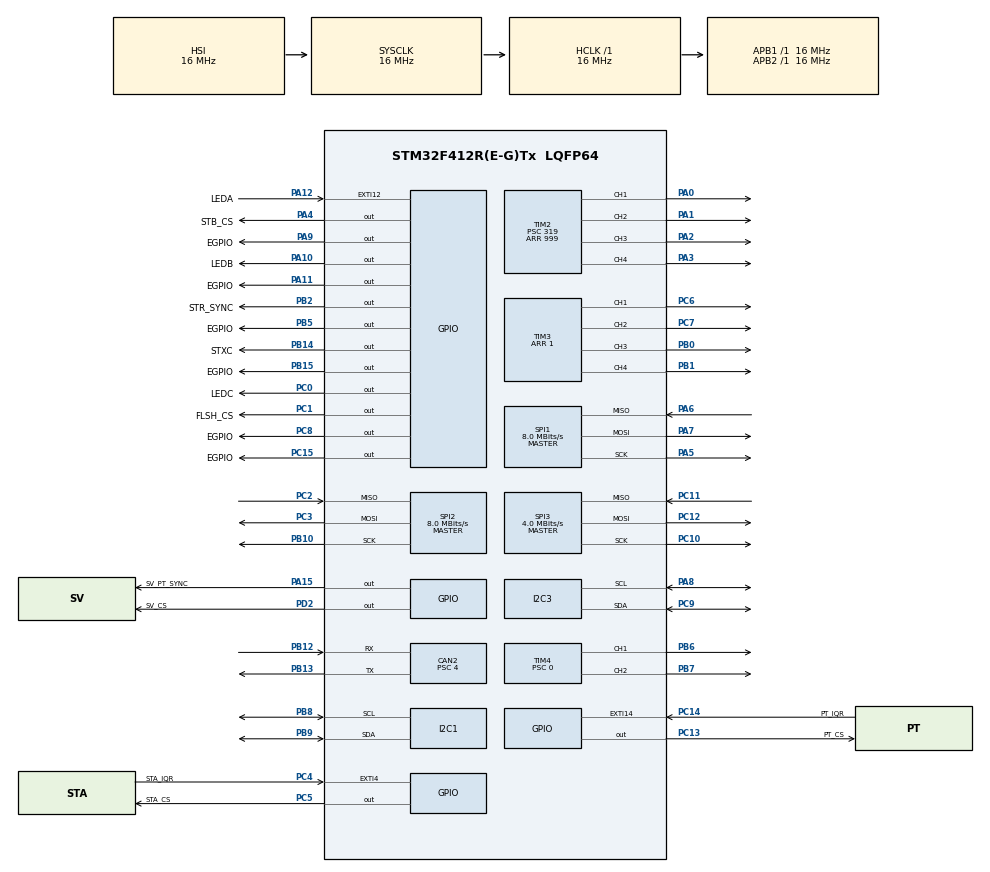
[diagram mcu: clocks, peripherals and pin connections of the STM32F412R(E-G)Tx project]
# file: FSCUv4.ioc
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CAN2.BS1=CAN_BS1_13TQ
CAN2.BS2=CAN_BS2_2TQ
CAN2.CalculateBaudRate=250000
CAN2.CalculateTimeBit=4000
CAN2.CalculateTimeQuantum=250.0
CAN2.NART=ENABLE
CAN2.Prescaler=4
CAN2.RFLM=ENABLE
CAN2.SJW=CAN_SJW_2TQ
Dma.I2C1_RX.7.Direction=DMA_PERIPH_TO_MEMORY
Dma.I2C1_RX.7.FIFOMode=DMA_FIFOMODE_DISABLE
Dma.I2C1_RX.7.Instance=DMA1_Stream0
Dma.I2C1_RX.7.MemDataAlignment=DMA_MDATAALIGN_BYTE
Dma.I2C1_RX.7.MemInc=DMA_MINC_ENABLE
Dma.I2C1_RX.7.Mode=DMA_NORMAL
Dma.I2C1_RX.7.PeriphDataAlignment=DMA_PDATAALIGN_BYTE
Dma.I2C1_RX.7.PeriphInc=DMA_PINC_DISABLE
Dma.I2C1_RX.7.Priority=DMA_PRIORITY_LOW
Dma.I2C1_TX.6.Direction=DMA_MEMORY_TO_PERIPH
Dma.I2C1_TX.6.FIFOMode=DMA_FIFOMODE_DISABLE
Dma.I2C1_TX.6.Instance=DMA1_Stream6
Dma.I2C1_TX.6.MemDataAlignment=DMA_MDATAALIGN_BYTE
Dma.I2C1_TX.6.MemInc=DMA_MINC_ENABLE
Dma.I2C1_TX.6.Mode=DMA_NORMAL
Dma.I2C1_TX.6.PeriphDataAlignment=DMA_PDATAALIGN_BYTE
Dma.I2C1_TX.6.PeriphInc=DMA_PINC_DISABLE
Dma.I2C1_TX.6.Priority=DMA_PRIORITY_LOW
Dma.I2C3_RX.8.Direction=DMA_PERIPH_TO_MEMORY
Dma.I2C3_RX.8.FIFOMode=DMA_FIFOMODE_DISABLE
Dma.I2C3_RX.8.Instance=DMA1_Stream1
Dma.I2C3_RX.8.MemDataAlignment=DMA_MDATAALIGN_BYTE
Dma.I2C3_RX.8.MemInc=DMA_MINC_ENABLE
Dma.I2C3_RX.8.Mode=DMA_NORMAL
Dma.I2C3_RX.8.PeriphDataAlignment=DMA_PDATAALIGN_BYTE
Dma.I2C3_RX.8.PeriphInc=DMA_PINC_DISABLE
Dma.I2C3_RX.8.Priority=DMA_PRIORITY_LOW
Dma.I2C3_TX.9.Direction=DMA_MEMORY_TO_PERIPH
Dma.I2C3_TX.9.FIFOMode=DMA_FIFOMODE_DISABLE
Dma.I2C3_TX.9.Instance=DMA1_Stream5
Dma.I2C3_TX.9.MemDataAlignment=DMA_MDATAALIGN_BYTE
Dma.I2C3_TX.9.MemInc=DMA_MINC_ENABLE
Dma.I2C3_TX.9.Mode=DMA_NORMAL
Dma.I2C3_TX.9.PeriphDataAlignment=DMA_PDATAALIGN_BYTE
Dma.I2C3_TX.9.PeriphInc=DMA_PINC_DISABLE
Dma.I2C3_TX.9.Priority=DMA_PRIORITY_LOW
Dma.Request0=SPI1_RX
Dma.Request1=SPI1_TX
Dma.Request2=SPI2_RX
Dma.Request3=SPI2_TX
Dma.Request4=SPI3_RX
Dma.Request5=SPI3_TX
Dma.Request6=I2C1_TX
Dma.Request7=I2C1_RX
Dma.Request8=I2C3_RX
Dma.Request9=I2C3_TX
Dma.SPI1_RX.0.Direction=DMA_PERIPH_TO_MEMORY
Dma.SPI1_RX.0.FIFOMode=DMA_FIFOMODE_DISABLE
Dma.SPI1_RX.0.Instance=DMA2_Stream0
Dma.SPI1_RX.0.MemDataAlignment=DMA_MDATAALIGN_BYTE
Dma.SPI1_RX.0.MemInc=DMA_MINC_ENABLE
Dma.SPI1_RX.0.Mode=DMA_NORMAL
Dma.SPI1_RX.0.PeriphDataAlignment=DMA_PDATAALIGN_BYTE
Dma.SPI1_RX.0.PeriphInc=DMA_PINC_DISABLE
Dma.SPI1_RX.0.Priority=DMA_PRIORITY_LOW
Dma.SPI1_TX.1.Direction=DMA_MEMORY_TO_PERIPH
Dma.SPI1_TX.1.FIFOMode=DMA_FIFOMODE_DISABLE
Dma.SPI1_TX.1.Instance=DMA2_Stream2
Dma.SPI1_TX.1.MemDataAlignment=DMA_MDATAALIGN_BYTE
Dma.SPI1_TX.1.MemInc=DMA_MINC_ENABLE
Dma.SPI1_TX.1.Mode=DMA_NORMAL
Dma.SPI1_TX.1.PeriphDataAlignment=DMA_PDATAALIGN_BYTE
Dma.SPI1_TX.1.PeriphInc=DMA_PINC_DISABLE
Dma.SPI1_TX.1.Priority=DMA_PRIORITY_LOW
Dma.SPI2_RX.2.Direction=DMA_PERIPH_TO_MEMORY
Dma.SPI2_RX.2.FIFOMode=DMA_FIFOMODE_DISABLE
Dma.SPI2_RX.2.Instance=DMA1_Stream3
Dma.SPI2_RX.2.MemDataAlignment=DMA_MDATAALIGN_BYTE
Dma.SPI2_RX.2.MemInc=DMA_MINC_ENABLE
Dma.SPI2_RX.2.Mode=DMA_NORMAL
Dma.SPI2_RX.2.PeriphDataAlignment=DMA_PDATAALIGN_BYTE
Dma.SPI2_RX.2.PeriphInc=DMA_PINC_DISABLE
Dma.SPI2_RX.2.Priority=DMA_PRIORITY_LOW
Dma.SPI2_TX.3.Direction=DMA_MEMORY_TO_PERIPH
Dma.SPI2_TX.3.FIFOMode=DMA_FIFOMODE_DISABLE
Dma.SPI2_TX.3.Instance=DMA1_Stream4
Dma.SPI2_TX.3.MemDataAlignment=DMA_MDATAALIGN_BYTE
Dma.SPI2_TX.3.MemInc=DMA_MINC_ENABLE
Dma.SPI2_TX.3.Mode=DMA_NORMAL
Dma.SPI2_TX.3.PeriphDataAlignment=DMA_PDATAALIGN_BYTE
Dma.SPI2_TX.3.PeriphInc=DMA_PINC_DISABLE
Dma.SPI2_TX.3.Priority=DMA_PRIORITY_LOW
Dma.SPI3_RX.4.Direction=DMA_PERIPH_TO_MEMORY
Dma.SPI3_RX.4.FIFOMode=DMA_FIFOMODE_DISABLE
Dma.SPI3_RX.4.Instance=DMA1_Stream2
Dma.SPI3_RX.4.MemDataAlignment=DMA_MDATAALIGN_BYTE
Dma.SPI3_RX.4.MemInc=DMA_MINC_ENABLE
Dma.SPI3_RX.4.Mode=DMA_NORMAL
Dma.SPI3_RX.4.PeriphDataAlignment=DMA_PDATAALIGN_BYTE
Dma.SPI3_RX.4.PeriphInc=DMA_PINC_DISABLE
Dma.SPI3_RX.4.Priority=DMA_PRIORITY_LOW
Dma.SPI3_TX.5.Direction=DMA_MEMORY_TO_PERIPH
Dma.SPI3_TX.5.FIFOMode=DMA_FIFOMODE_DISABLE
Dma.SPI3_TX.5.Instance=DMA1_Stream7
Dma.SPI3_TX.5.MemDataAlignment=DMA_MDATAALIGN_BYTE
Dma.SPI3_TX.5.MemInc=DMA_MINC_ENABLE
Dma.SPI3_TX.5.Mode=DMA_NORMAL
Dma.SPI3_TX.5.PeriphDataAlignment=DMA_PDATAALIGN_BYTE
Dma.SPI3_TX.5.PeriphInc=DMA_PINC_DISABLE
Dma.SPI3_TX.5.Priority=DMA_PRIORITY_LOW
Mcu.Family=STM32F4
Mcu.Name=STM32F412R(E-G)Tx
Mcu.Package=LQFP64
NVIC.CAN2_RX0_IRQn=true\:0\:0\:false\:false\:true\:true\:true\:true
NVIC.DMA1_Stream0_IRQn=true\:0\:0\:false\:false\:true\:false\:true\:true
NVIC.DMA1_Stream1_IRQn=true\:0\:0\:false\:false\:true\:false\:true\:true
NVIC.DMA1_Stream2_IRQn=true\:0\:0\:false\:false\:true\:false\:true\:true
NVIC.DMA1_Stream3_IRQn=true\:0\:0\:false\:false\:true\:false\:true\:true
NVIC.DMA1_Stream4_IRQn=true\:0\:0\:false\:false\:true\:false\:true\:true
NVIC.DMA1_Stream5_IRQn=true\:0\:0\:false\:false\:true\:false\:true\:true
NVIC.DMA1_Stream6_IRQn=true\:0\:0\:false\:false\:true\:false\:true\:true
NVIC.DMA1_Stream7_IRQn=true\:0\:0\:false\:false\:true\:false\:true\:true
NVIC.DMA2_Stream0_IRQn=true\:0\:0\:false\:false\:true\:false\:true\:true
NVIC.DMA2_Stream2_IRQn=true\:0\:0\:false\:false\:true\:false\:true\:true
NVIC.PriorityGroup=NVIC_PRIORITYGROUP_4
NVIC.TIM5_IRQn=true\:15\:0\:false\:false\:true\:false\:true\:true
NVIC.TimeBase=TIM5_IRQn
NVIC.TimeBaseIP=TIM5
PA0.Signal=S_TIM2_CH1_ETR
PA1.Signal=S_TIM2_CH2
PA10.GPIO_Label=LEDB
PA10.Signal=GPIO_Output
PA11.GPIO_Label=EGPIO
PA11.Signal=GPIO_Output
PA12.GPIO_Label=LEDA
PA12.Signal=GPXTI12
PA13.Mode=Trace_Asynchronous_SW
PA13.Signal=SYS_JTMS-SWDIO
PA14.Mode=Trace_Asynchronous_SW
PA14.Signal=SYS_JTCK-SWCLK
PA15.GPIO_Label=SV_PT_SYNC
PA15.Signal=GPIO_Output
PA2.Signal=S_TIM2_CH3
PA3.Signal=S_TIM2_CH4
PA4.GPIO_Label=STB_CS
PA4.Signal=GPIO_Output
PA5.Mode=Full_Duplex_Master
PA5.Signal=SPI1_SCK
PA6.Mode=Full_Duplex_Master
PA6.Signal=SPI1_MISO
PA7.Mode=Full_Duplex_Master
PA7.Signal=SPI1_MOSI
PA8.Mode=I2C
PA8.Signal=I2C3_SCL
PA9.GPIO_Label=EGPIO
PA9.Signal=GPIO_Output
PB0.Signal=S_TIM3_CH3
PB1.Signal=S_TIM3_CH4
PB10.Mode=Full_Duplex_Master
PB10.Signal=SPI2_SCK
PB12.Mode=CAN_Activate
PB12.Signal=CAN2_RX
PB13.Mode=CAN_Activate
PB13.Signal=CAN2_TX
PB14.GPIO_Label=STXC
PB14.Signal=GPIO_Output
PB15.GPIO_Label=EGPIO
PB15.Signal=GPIO_Output
PB2.GPIO_Label=STR_SYNC
PB2.Signal=GPIO_Output
PB3.Mode=Trace_Asynchronous_SW
PB3.Signal=SYS_JTDO-SWO
PB5.GPIO_Label=EGPIO
PB5.Signal=GPIO_Output
PB6.Signal=S_TIM4_CH1
PB7.Signal=S_TIM4_CH2
PB8.Mode=I2C
PB8.Signal=I2C1_SCL
PB9.Mode=I2C
PB9.Signal=I2C1_SDA
PC0.GPIO_Label=LEDC
PC0.Signal=GPIO_Output
PC1.GPIO_Label=FLSH_CS
PC1.Signal=GPIO_Output
PC10.Mode=Full_Duplex_Master
PC10.Signal=SPI3_SCK
PC11.Mode=Full_Duplex_Master
PC11.Signal=SPI3_MISO
PC12.Mode=Full_Duplex_Master
PC12.Signal=SPI3_MOSI
PC13.GPIO_Label=PT_CS
PC13.Signal=GPIO_Output
PC14-OSC32_IN.GPIO_Label=PT_IQR
PC14-OSC32_IN.Signal=GPXTI14
PC15-OSC32_OUT.GPIO_Label=EGPIO
PC15-OSC32_OUT.Signal=GPIO_Output
PC2.Mode=Full_Duplex_Master
PC2.Signal=SPI2_MISO
PC3.Mode=Full_Duplex_Master
PC3.Signal=SPI2_MOSI
PC4.GPIO_Label=STA_IQR
PC4.Signal=GPXTI4
PC5.GPIO_Label=STA_CS
PC5.Signal=GPIO_Output
PC6.Signal=S_TIM3_CH1
PC7.Signal=S_TIM3_CH2
PC8.GPIO_Label=EGPIO
PC8.Signal=GPIO_Output
PC9.Mode=I2C
PC9.Signal=I2C3_SDA
PD2.GPIO_Label=SV_CS
PD2.Signal=GPIO_Output
ProjectManager.HeapSize=0x200
ProjectManager.StackSize=0x400
ProjectManager.TargetToolchain=STM32CubeIDE
RCC.AHBFreq_Value=16000000
RCC.APB1Freq_Value=16000000
RCC.APB1TimFreq_Value=16000000
RCC.APB2Freq_Value=16000000
RCC.APB2TimFreq_Value=16000000
RCC.CortexFreq_Value=16000000
RCC.HCLKFreq_Value=16000000
RCC.HSE_VALUE=16000000
RCC.SYSCLKFreq_VALUE=16000000
RCC.USBFreq_Value=96000000
RCC.VCOOutputFreq_Value=192000000
SH.S_TIM2_CH1_ETR.0=TIM2_CH1,PWM Generation1 CH1
SH.S_TIM2_CH2.0=TIM2_CH2,PWM Generation2 CH2
SH.S_TIM2_CH3.0=TIM2_CH3,PWM Generation3 CH3
SH.S_TIM2_CH4.0=TIM2_CH4,PWM Generation4 CH4
SH.S_TIM3_CH1.0=TIM3_CH1,PWM Generation1 CH1
SH.S_TIM3_CH2.0=TIM3_CH2,PWM Generation2 CH2
SH.S_TIM3_CH3.0=TIM3_CH3,PWM Generation3 CH3
SH.S_TIM3_CH4.0=TIM3_CH4,PWM Generation4 CH4
SH.S_TIM4_CH1.0=TIM4_CH1,PWM Generation1 CH1
SH.S_TIM4_CH2.0=TIM4_CH2,PWM Generation2 CH2
SPI1.CLKPhase=SPI_PHASE_2EDGE
SPI1.CalculateBaudRate=8.0 MBits/s
SPI1.Direction=SPI_DIRECTION_2LINES
SPI1.Mode=SPI_MODE_MASTER
SPI1.VirtualType=VM_MASTER
SPI2.CalculateBaudRate=8.0 MBits/s
SPI2.Direction=SPI_DIRECTION_2LINES
SPI2.Mode=SPI_MODE_MASTER
SPI2.VirtualType=VM_MASTER
SPI3.BaudRatePrescaler=SPI_BAUDRATEPRESCALER_4
SPI3.CLKPhase=SPI_PHASE_2EDGE
SPI3.CalculateBaudRate=4.0 MBits/s
SPI3.Direction=SPI_DIRECTION_2LINES
SPI3.FirstBit=SPI_FIRSTBIT_MSB
SPI3.Mode=SPI_MODE_MASTER
SPI3.VirtualType=VM_MASTER
TIM2.Channel-PWM\ Generation1\ CH1=TIM_CHANNEL_1
TIM2.Channel-PWM\ Generation2\ CH2=TIM_CHANNEL_2
TIM2.Channel-PWM\ Generation3\ CH3=TIM_CHANNEL_3
TIM2.Channel-PWM\ Generation4\ CH4=TIM_CHANNEL_4
TIM2.Period=999
TIM2.Prescaler=319
TIM3.Channel-PWM\ Generation1\ CH1=TIM_CHANNEL_1
TIM3.Channel-PWM\ Generation2\ CH2=TIM_CHANNEL_2
TIM3.Channel-PWM\ Generation3\ CH3=TIM_CHANNEL_3
TIM3.Channel-PWM\ Generation4\ CH4=TIM_CHANNEL_4
TIM3.Period=1
TIM4.Channel-PWM\ Generation1\ CH1=TIM_CHANNEL_1
TIM4.Channel-PWM\ Generation2\ CH2=TIM_CHANNEL_2
TIM4.Period=2
TIM4.Prescaler=0
TIM4.Pulse-PWM\ Generation1\ CH1=1
TIM8.AutoReloadPreload=TIM_AUTORELOAD_PRELOAD_ENABLE
TIM8.Period=9999
TIM8.Prescaler=159
VP_SYS_VS_tim5.Mode=TIM5
VP_TIM2_VS_ClockSourceINT.Mode=Internal
VP_TIM3_VS_ClockSourceINT.Mode=Internal
VP_TIM4_VS_ClockSourceINT.Mode=Internal
VP_TIM8_VS_ClockSourceINT.Mode=Internal
board=custom

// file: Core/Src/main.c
/* USER CODE BEGIN Header */
/**
  ******************************************************************************
  * @file           : main.c
  * @brief          : Main program body
  ******************************************************************************
  * @attention
  *
  * Copyright (c) 2025 STMicroelectronics.
  * All rights reserved.
  *
  * This software is licensed under terms that can be found in the LICENSE file
  * in the root directory of this software component.
  * If no LICENSE file comes with this software, it is provided AS-IS.
  *
  ******************************************************************************
  */
/* USER CODE END Header */
#include "main.h"

/* USER CODE BEGIN Includes */
#include <string.h>
/* USER CODE END Includes */

CAN_HandleTypeDef hcan2;

I2C_HandleTypeDef hi2c1;
I2C_HandleTypeDef hi2c3;
DMA_HandleTypeDef hdma_i2c1_tx;
DMA_HandleTypeDef hdma_i2c1_rx;
DMA_HandleTypeDef hdma_i2c3_rx;
DMA_HandleTypeDef hdma_i2c3_tx;

SPI_HandleTypeDef hspi1;
SPI_HandleTypeDef hspi2;
SPI_HandleTypeDef hspi3;
DMA_HandleTypeDef hdma_spi1_rx;
DMA_HandleTypeDef hdma_spi1_tx;
DMA_HandleTypeDef hdma_spi2_rx;
DMA_HandleTypeDef hdma_spi2_tx;
DMA_HandleTypeDef hdma_spi3_rx;
DMA_HandleTypeDef hdma_spi3_tx;

TIM_HandleTypeDef htim2;
TIM_HandleTypeDef htim3;
TIM_HandleTypeDef htim4;
TIM_HandleTypeDef htim8;

/* USER CODE BEGIN PV */
uint8_t noRxRequiredBuff[16];
ads131_t PTAM;

uint32_t ChanXRaw = 0;
float ChanXFloat = 0.0f;
uint8_t wrong = 0;

ads131_channels_val_t channels_data;
volatile float bar_6;
volatile float bar_7;

uint8_t trig_int = 0;
uint8_t null=0x00;

uint16_t id;
float bar;

#ifdef FSCU
// Forward servo 1
Servo_t fs1 = {
      .htim = &htim2,
      .channel = TIM_CHANNEL_1,
      .us_min = 1000,
      .us_max = 2000,
  	//.pulse_min=250,
  	//.pulse_max=500,
      .angle_min = 0,
      .angle_max = 180,
	  .can_id = 0x321
  };

//forward servo 2
Servo_t fs2 = {
      .htim = &htim2,
      .channel = TIM_CHANNEL_2,
      .us_min = 1000,
      .us_max = 2000,
  	//.pulse_min=250,
  	//.pulse_max=500,
      .angle_min = 0,
      .angle_max = 180,
	  .can_id = 0x322
  };

//forward servo 3
Servo_t fs3 = {
      .htim = &htim2,
      .channel = TIM_CHANNEL_3,
      .us_min = 1000,
      .us_max = 2000,
  	//.pulse_min=250,
  	//.pulse_max=500,
      .angle_min = 0,
      .angle_max = 180,
	  .can_id = 0x323
  };

//forward servo 4
Servo_t fs4 = {
      .htim = &htim2,
      .channel = TIM_CHANNEL_4,
      .us_min = 1000,
      .us_max = 2000,
  	//.pulse_min=250,
  	//.pulse_max=500,
      .angle_min = 0,
      .angle_max = 180,
	  .can_id = 0x324
  };
#endif
#ifdef ECU
//aft servo 1
Servo_t as1 = {
      .htim = &htim2,
      .channel = TIM_CHANNEL_1,
      .us_min = 1000,
      .us_max = 2000,
  	//.pulse_min=250,
  	//.pulse_max=500,
      .angle_min = 0,
      .angle_max = 180,
	  .can_id = 0x221
  };

//aft servo 2
Servo_t as2 = {
      .htim = &htim2,
      .channel = TIM_CHANNEL_2,
      .us_min = 1000,
      .us_max = 2000,
  	//.pulse_min=250,
  	//.pulse_max=500,
      .angle_min = 0,
      .angle_max = 180,
	  .can_id = 0x222
  };
#endif
#ifdef EREG
/* Regulator servo – TIM2 CH1, standard 50 Hz hobby servo (1–2 ms pulse) */
Servo_t ereg_sv = {
      .htim = &htim2,
      .channel = EREG_SERVO_CH,
      .us_min = 1000,
      .us_max = 2000,
      .angle_min = 0,
      .angle_max = 180,
      .can_id = 0x000   /* not used in EREG mode */
  };

/* Vent servo – TIM2 CH2, opens when prop pressure exceeds setpoint + threshold */
Servo_t ereg_vent_sv = {
      .htim = &htim2,
      .channel = TIM_CHANNEL_2,
      .us_min = 1000,
      .us_max = 2000,
      .angle_min = 0,
      .angle_max = 180,
      .can_id = 0x000   /* not used in EREG mode */
  };

float ereg_vent_angle = 180.0f;        /* last commanded vent angle – starts closed */
#define EREG_VENT_OPEN_DEG    0.0f     /* 0°   = fully open  */
#define EREG_VENT_CLOSED_DEG  180.0f   /* 180° = fully closed */
#define EREG_VENT_THRESHOLD   0.5f     /* open vent if P2 > setpoint + this value [bar] */
#define EREG_VENT_HYSTERESIS  0.3f     /* close vent only when P2 drops back below setpoint + THRESHOLD - HYSTERESIS [bar] */
#endif

#ifdef GSCU
//Ground statione srvo 1
Servo_t gs1 = {
      .htim = &htim2,
      .channel = TIM_CHANNEL_1,
      .us_min = 1000,
      .us_max = 2000,
  	//.pulse_min=250,
  	//.pulse_max=500,
      .angle_min = 0,
      .angle_max = 180,
	  .can_id = 0x125
  };

//ground station servo 2
Servo_t gs2 = {
      .htim = &htim2,
      .channel = TIM_CHANNEL_2,
      .us_min = 1000,
      .us_max = 2000,
  	//.pulse_min=250,
  	//.pulse_max=500,
      .angle_min = 0,
      .angle_max = 180,
	  .can_id = 0x126
  };

//ground station servo 3
Servo_t gs3 = {
      .htim = &htim2,
      .channel = TIM_CHANNEL_3,
      .us_min = 1000,
      .us_max = 2000,
  	//.pulse_min=250,
  	//.pulse_max=500,
      .angle_min = 0,
      .angle_max = 180,
	  .can_id = 0x127
  };

//ground sation servo 4
Servo_t gs4 = {
      .htim = &htim2,
      .channel = TIM_CHANNEL_4,
      .us_min = 1000,
      .us_max = 2000,
  	//.pulse_min=250,
  	//.pulse_max=500,
      .angle_min = 0,
      .angle_max = 180,
	  .can_id = 0x128
  };
#endif
/* USER CODE END PV */

void SystemClock_Config(void);
static void MX_GPIO_Init(void);
static void MX_DMA_Init(void);
static void MX_CAN2_Init(void);
static void MX_TIM8_Init(void);
static void MX_TIM3_Init(void);
static void MX_SPI1_Init(void);
static void MX_TIM2_Init(void);
static void MX_SPI2_Init(void);
static void MX_SPI3_Init(void);
static void MX_I2C1_Init(void);
static void MX_I2C3_Init(void);
static void MX_TIM4_Init(void);

/* USER CODE BEGIN 0 */
uint32_t TxMailbox;
uint8_t TxBuffer[8]={0};
CAN_TxHeaderTypeDef GenericTxHeader;
uint8_t n_counter =0;

CAN_RxHeaderTypeDef rxHeader;
uint8_t rxMessage[8];
Servo_t* servoId = NULL;
volatile uint8_t recv_angle;
void HAL_CAN_RxFifo0MsgPendingCallback(CAN_HandleTypeDef *hcan)
{

    if(hcan->Instance == CAN2){
    	if (HAL_CAN_GetRxMessage(&hcan2, CAN_RX_FIFO0, &rxHeader, rxMessage)!=HAL_OK){

    	}
    	else{
    		//uint8_t reading = rxMessage[7] | rxMessage[0]; // not sure if msb or lsb first?

//    		uint8_t rxData[8];  // local copy
//    		memcpy(rxData, rxMessage, rxHeader.DLC);

    		uint16_t can_id_ack;
    		servoId = NULL;
#ifdef EREG
    		/* EREG does not use CAN for servo control — ignore all incoming messages */
    		return;
#endif
#ifdef FSCU
    		can_id_ack = (HPB_CAN_SOURCE_UPPER_TX | 0xF0 | HPB_CAN_INSTANCE_1);
    		if (rxHeader.ExtId == fs1.can_id) {
    			servoId = &fs1;
    			//ServoActuator(&fs1, dataValue);
    		}
    		else if (rxHeader.ExtId == fs2.can_id) {
    			servoId = &fs2;
    			//ServoActuator(&fs2, dataValue);
    		}
    		else if (rxHeader.ExtId == fs3.can_id) {
    			servoId = &fs3;
    			//ServoActuator(&fs3, dataValue);
    		}
    		else if (rxHeader.ExtId == fs4.can_id) {
    			servoId = &fs4;
    			//ServoActuator(&fs4, dataValue);
    		} else {
    			return;
    		}
#endif
#ifdef ECU
    		can_id_ack = (HPB_CAN_SOURCE_LOWER_TX | 0xF0 | HPB_CAN_INSTANCE_1);
    		if (rxHeader.ExtId == as1.can_id) {
    			servoId = &as1;
    			//ServoActuator(&as1, dataValue);
    		}
    		else if (rxHeader.ExtId == as2.can_id) {
    			servoId = &as2;
    			//ServoActuator(&as2, dataValue);
    		} else {
    			return;
    		}
#endif
#ifdef GSCU

    		can_id_ack = (HPB_CAN_SOURCE_GROUND_SYSTEMS | 0xF0 | HPB_CAN_INSTANCE_1);
    		if (rxHeader.ExtId == gs1.can_id) {
    			servoId = &gs1;

    			//ServoActuator(&gs1, dataValue);
    		}
    		else if (rxHeader.ExtId == gs2.can_id) {
    			servoId = &gs2;

    			//ServoActuator(&gs2, dataValue);
    		}
    		else if (rxHeader.ExtId == gs3.can_id) {
    			servoId = &gs3;

    			//ServoActuator(&gs3, dataValue);
    		}
    		else if (rxHeader.ExtId == gs4.can_id) {
    			servoId = &gs4;

    			//ServoActuator(&gs4, dataValue);
    		} else {
    			return;
    		}
#endif

    		recv_angle = rxMessage[3];
			ServoActuator(servoId, recv_angle);
			n_counter++;
			CAN_TxHeaderTypeDef ackTxHeader = {
							.StdId = can_id_ack,
							.ExtId = 0,
							.IDE = CAN_ID_STD,
							.RTR = CAN_RTR_DATA,
							.DLC = 4,
							.TransmitGlobalTime = DISABLE
						};
			rxMessage[0] = rxHeader.ExtId;
			rxHeader.ExtId = 0;
			if (HAL_CAN_AddTxMessage(&hcan2, &ackTxHeader, rxMessage, &TxMailbox) != HAL_OK)
			{
				return;
			}

    	}
    }
}
uint8_t i;
CAN_FilterTypeDef sFilterConfig; //declare CAN filter structure
/* USER CODE END 0 */

int main(void)
{

  /* MCU Configuration--------------------------------------------------------*/

  /* Reset of all peripherals, Initializes the Flash interface and the Systick. */
  HAL_Init();

  /* Configure the system clock */
  SystemClock_Config();

  /* Initialize all configured peripherals */
  MX_GPIO_Init();
  MX_DMA_Init();
  MX_CAN2_Init();
  MX_TIM8_Init();
  MX_TIM3_Init();
  MX_SPI1_Init();
  MX_TIM2_Init();
  MX_SPI2_Init();
  MX_SPI3_Init();
  MX_I2C1_Init();
  MX_I2C3_Init();
  MX_TIM4_Init();
  /* USER CODE BEGIN 2 */
  HAL_TIM_PWM_Start(&htim4, TIM_CHANNEL_1);
  initADS();
  HAL_TIM_OC_Start(&htim4, TIM_CHANNEL_1);
  HAL_TIM_OC_Start(&htim4, TIM_CHANNEL_2);
  if (HAL_CAN_Start(&hcan2) != HAL_OK){
  	  Error_Handler();
    }
  InitDefaultCANHeader(&GenericTxHeader);

  sFilterConfig.FilterFIFOAssignment = CAN_RX_FIFO0;
   sFilterConfig.FilterActivation = ENABLE;
    //  sFilterConfig.SlaveStartFilterBank = 0;

      HAL_CAN_ConfigFilter(&hcan2, &sFilterConfig);
    //  HAL_CAN_ConfigFilter(&hcan2, &sFilterConfig); //configure CAN filter

    if (HAL_CAN_ActivateNotification(&hcan2, CAN_IT_RX_FIFO0_MSG_PENDING) != HAL_OK){
  	  Error_Handler();
    }

  #ifdef FSCU
    fs1.timer_clk_hz = HAL_RCC_GetPCLK1Freq() * ((RCC->CFGR & RCC_CFGR_PPRE1) != 0 ? 2 : 1) / (htim2.Init.Prescaler + 1);
    fs2.timer_clk_hz = HAL_RCC_GetPCLK1Freq() * ((RCC->CFGR & RCC_CFGR_PPRE1) != 0 ? 2 : 1) / (htim2.Init.Prescaler + 1);
    fs3.timer_clk_hz = HAL_RCC_GetPCLK1Freq() * ((RCC->CFGR & RCC_CFGR_PPRE1) != 0 ? 2 : 1) / (htim2.Init.Prescaler + 1);

    ServoInit(&fs1);
    ServoInit(&fs2);
    ServoInit(&fs3);
    ServoInit(&fs4);

    HAL_TIM_PWM_Start(fs1.htim, fs1.channel);
    HAL_TIM_PWM_Start(fs2.htim, fs2.channel);
    HAL_TIM_PWM_Start(fs3.htim, fs3.channel);
    HAL_TIM_PWM_Start(fs4.htim, fs4.channel);

  #endif

  #ifdef ECU

    as1.timer_clk_hz = HAL_RCC_GetPCLK1Freq() * ((RCC->CFGR & RCC_CFGR_PPRE1) != 0 ? 2 : 1) / (htim2.Init.Prescaler + 1);
    as2.timer_clk_hz = HAL_RCC_GetPCLK1Freq() * ((RCC->CFGR & RCC_CFGR_PPRE1) != 0 ? 2 : 1) / (htim2.Init.Prescaler + 1);

    ServoInit(&as1);
    ServoInit(&as2);

    HAL_TIM_PWM_Start(as1.htim, as1.channel);
    HAL_TIM_PWM_Start(as2.htim, as2.channel);

  #endif

  #ifdef GSCU

    gs1.timer_clk_hz = HAL_RCC_GetPCLK1Freq() * ((RCC->CFGR & RCC_CFGR_PPRE1) != 0 ? 2 : 1) / (htim2.Init.Prescaler + 1);
    gs2.timer_clk_hz = HAL_RCC_GetPCLK1Freq() * ((RCC->CFGR & RCC_CFGR_PPRE1) != 0 ? 2 : 1) / (htim2.Init.Prescaler + 1);
    gs3.timer_clk_hz = HAL_RCC_GetPCLK1Freq() * ((RCC->CFGR & RCC_CFGR_PPRE1) != 0 ? 2 : 1) / (htim2.Init.Prescaler + 1);
    gs4.timer_clk_hz = HAL_RCC_GetPCLK1Freq() * ((RCC->CFGR & RCC_CFGR_PPRE1) != 0 ? 2 : 1) / (htim2.Init.Prescaler + 1);

    ServoInit(&gs1);
    ServoInit(&gs2);
    ServoInit(&gs3);
    ServoInit(&gs4);

    HAL_TIM_PWM_Start(gs1.htim, gs1.channel);
    HAL_TIM_PWM_Start(gs2.htim, gs2.channel);
    HAL_TIM_PWM_Start(gs3.htim, gs3.channel);
    HAL_TIM_PWM_Start(gs4.htim, gs4.channel);

  #endif

  #ifdef EREG
    /* Servo init */
    ereg_sv.timer_clk_hz = HAL_RCC_GetPCLK1Freq()
                            * ((RCC->CFGR & RCC_CFGR_PPRE1) != 0 ? 2 : 1)
                            / (htim2.Init.Prescaler + 1);
    ServoInit(&ereg_sv);
    HAL_TIM_PWM_Start(ereg_sv.htim, ereg_sv.channel);

    /* Vent servo init – TIM2 CH2 */
    ereg_vent_sv.timer_clk_hz = ereg_sv.timer_clk_hz;
    ServoInit(&ereg_vent_sv);
    HAL_TIM_PWM_Start(ereg_vent_sv.htim, ereg_vent_sv.channel);

    /* EREG controller: set starting conditions */
    ereg_setpoint_bar = 3.0;    /* target LP tank pressure [bar]                 */
    ereg_P1_hp_bar    = 8.0;    /* initial HP estimate until first PT reading    */
    ereg_P2_prop_bar  = 0.0;    /* initial LP estimate until first PT reading    */
    ereg_enable       = 1;      /* controller runs immediately on power-up */

    ereg_hansv1_initialize();

    /* Explicitly command both servos to known position before loop starts */
    ServoActuator(&ereg_vent_sv, (uint32_t)180);
    ServoActuator(&ereg_sv,      (uint32_t)180);
  #endif

  /* USER CODE END 2 */

  /* Infinite loop */
  /* USER CODE BEGIN WHILE */

#ifdef EREG
  /* ── EREG main loop ──────────────────────────────────────────────────

   ────────────── */
  {
    uint32_t last_ereg_tick = 0;

    while (1)
    {
      /* USER CODE END WHILE */
      /* USER CODE BEGIN 3 */

      uint32_t now = HAL_GetTick();

      if (now - last_ereg_tick >= 1)  /* 1 ms step */
      {
        last_ereg_tick = now;

        /* 1. Read PTs via ADS131 */
        ads131_read_all_channel(&PTAM, &channels_data);
        ereg_P1_hp_bar   = (double)ADCmVToBar(channels_data.ChannelVoltageMv[EREG_HP_CH]); //Can change this to channel using
        ereg_P2_prop_bar = (double)ADCmVToBar(channels_data.ChannelVoltageMv[EREG_PROP_CH]);

        // PID START
        /* 3. Run the EREG pressure controller (1 ms step) */
        ereg_hansv1_step();

        /* 4. Actuate the regulator (fill) with angles chhanged*/
        ServoActuator(&ereg_sv, (uint32_t)(180.0 - ereg_servo_out_deg));
        // PID END

        /* ── BANG-BANG FALLBACK

         */
        // #define EREG_BB_DEADBAND  0.2f
        // static float bb_fill_angle = 180.0f;
        // if      (ereg_P2_prop_bar < (ereg_setpoint_bar - EREG_BB_DEADBAND))
        //     bb_fill_angle = 0.0f;
        // else if (ereg_P2_prop_bar > (ereg_setpoint_bar + EREG_BB_DEADBAND))
        //     bb_fill_angle = 180.0f;
        // ServoActuator(&ereg_sv, (uint32_t)bb_fill_angle);

        /* 5. Vent servo bang bang */
        if (ereg_P2_prop_bar > (ereg_setpoint_bar + EREG_VENT_THRESHOLD)) {
            ereg_vent_angle = EREG_VENT_OPEN_DEG;
        } else if (ereg_P2_prop_bar < (ereg_setpoint_bar + EREG_VENT_THRESHOLD - EREG_VENT_HYSTERESIS)) {
            ereg_vent_angle = EREG_VENT_CLOSED_DEG;
        }
        ServoActuator(&ereg_vent_sv, (uint32_t)ereg_vent_angle);

        if ((now % 1000) < 500)
          HAL_GPIO_WritePin(LEDB_GPIO_Port, LEDB_Pin, GPIO_PIN_SET);
        else
          HAL_GPIO_WritePin(LEDB_GPIO_Port, LEDB_Pin, GPIO_PIN_RESET);
      }
    }
  }

#else /* original non-EREG loop ────────────────────────────────────── */

  while (1)
  {
    /* USER CODE END WHILE */
    /* USER CODE BEGIN 3 */
	  ads131_read_all_channel(&PTAM, &channels_data);

	  for (i=4; i<8; i++){

		  id = STARTID +i;
		  for (uint8_t j=0; j<8; j++){
				  memcpy(&TxBuffer[j], &null, 1);
			  };
		  bar=ADCmVToBar(channels_data.ChannelVoltageMv[i]);
		  memcpy(&TxBuffer[0], (const void *)&bar, sizeof(float));
		  applyHeaderID(&GenericTxHeader, id);
		  if (HAL_CAN_GetTxMailboxesFreeLevel(&hcan2) == 0){
		  		  HAL_Delay(1);};
		  HAL_CAN_AddTxMessage(&hcan2, &GenericTxHeader, TxBuffer, &TxMailbox);

		  id = STARTID+i + 0x10;
		  for (uint8_t j=0; j<8; j++){
			  memcpy(&TxBuffer[j], &null, 1);
		  };
		  memcpy(&TxBuffer[0], &channels_data.ChannelVoltageMv[i], sizeof(uint32_t));
		  applyHeaderID(&GenericTxHeader, id);
		  while (HAL_CAN_GetTxMailboxesFreeLevel(&hcan2) == 0){
			  HAL_Delay(1);
		  };
		  HAL_CAN_AddTxMessage(&hcan2, &GenericTxHeader, TxBuffer, &TxMailbox);
	  };

	  HAL_Delay(100);
  }

#endif /* EREG */

  /* USER CODE END 3 */
}

void SystemClock_Config(void)
{
  RCC_OscInitTypeDef RCC_OscInitStruct = {0};
  RCC_ClkInitTypeDef RCC_ClkInitStruct = {0};

  /** Configure the main internal regulator output voltage
  */
  __HAL_RCC_PWR_CLK_ENABLE();
  __HAL_PWR_VOLTAGESCALING_CONFIG(PWR_REGULATOR_VOLTAGE_SCALE1);

  /** Initializes the RCC Oscillators according to the specified parameters
  * in the RCC_OscInitTypeDef structure.
  */
  RCC_OscInitStruct.OscillatorType = RCC_OSCILLATORTYPE_HSI;
  RCC_OscInitStruct.HSIState = RCC_HSI_ON;
  RCC_OscInitStruct.HSICalibrationValue = RCC_HSICALIBRATION_DEFAULT;
  RCC_OscInitStruct.PLL.PLLState = RCC_PLL_NONE;
  if (HAL_RCC_OscConfig(&RCC_OscInitStruct) != HAL_OK)
  {
    Error_Handler();
  }

  /** Initializes the CPU, AHB and APB buses clocks
  */
  RCC_ClkInitStruct.ClockType = RCC_CLOCKTYPE_HCLK|RCC_CLOCKTYPE_SYSCLK
                              |RCC_CLOCKTYPE_PCLK1|RCC_CLOCKTYPE_PCLK2;
  RCC_ClkInitStruct.SYSCLKSource = RCC_SYSCLKSOURCE_HSI;
  RCC_ClkInitStruct.AHBCLKDivider = RCC_SYSCLK_DIV1;
  RCC_ClkInitStruct.APB1CLKDivider = RCC_HCLK_DIV1;
  RCC_ClkInitStruct.APB2CLKDivider = RCC_HCLK_DIV1;

  if (HAL_RCC_ClockConfig(&RCC_ClkInitStruct, FLASH_LATENCY_0) != HAL_OK)
  {
    Error_Handler();
  }
}

static void MX_CAN2_Init(void)
{

  hcan2.Instance = CAN2;
  hcan2.Init.Prescaler = 4;
  hcan2.Init.Mode = CAN_MODE_NORMAL;
  hcan2.Init.SyncJumpWidth = CAN_SJW_2TQ;
  hcan2.Init.TimeSeg1 = CAN_BS1_13TQ;
  hcan2.Init.TimeSeg2 = CAN_BS2_2TQ;
  hcan2.Init.TimeTriggeredMode = DISABLE;
  hcan2.Init.AutoBusOff = DISABLE;
  hcan2.Init.AutoWakeUp = DISABLE;
  hcan2.Init.AutoRetransmission = ENABLE;
  hcan2.Init.ReceiveFifoLocked = DISABLE;
  hcan2.Init.TransmitFifoPriority = DISABLE;
  if (HAL_CAN_Init(&hcan2) != HAL_OK)
  {
    Error_Handler();
  }
  /* USER CODE BEGIN CAN2_Init 2 */
  HAL_NVIC_SetPriority(CAN2_RX0_IRQn, 5, 0);
    HAL_NVIC_EnableIRQ(CAN2_RX0_IRQn);
  /* USER CODE END CAN2_Init 2 */

}

static void MX_I2C1_Init(void)
{

  hi2c1.Instance = I2C1;
  hi2c1.Init.ClockSpeed = 100000;
  hi2c1.Init.DutyCycle = I2C_DUTYCYCLE_2;
  hi2c1.Init.OwnAddress1 = 0;
  hi2c1.Init.AddressingMode = I2C_ADDRESSINGMODE_7BIT;
  hi2c1.Init.DualAddressMode = I2C_DUALADDRESS_DISABLE;
  hi2c1.Init.OwnAddress2 = 0;
  hi2c1.Init.GeneralCallMode = I2C_GENERALCALL_DISABLE;
  hi2c1.Init.NoStretchMode = I2C_NOSTRETCH_DISABLE;
  if (HAL_I2C_Init(&hi2c1) != HAL_OK)
  {
    Error_Handler();
  }

}

static void MX_I2C3_Init(void)
{

  hi2c3.Instance = I2C3;
  hi2c3.Init.ClockSpeed = 100000;
  hi2c3.Init.DutyCycle = I2C_DUTYCYCLE_2;
  hi2c3.Init.OwnAddress1 = 0;
  hi2c3.Init.AddressingMode = I2C_ADDRESSINGMODE_7BIT;
  hi2c3.Init.DualAddressMode = I2C_DUALADDRESS_DISABLE;
  hi2c3.Init.OwnAddress2 = 0;
  hi2c3.Init.GeneralCallMode = I2C_GENERALCALL_DISABLE;
  hi2c3.Init.NoStretchMode = I2C_NOSTRETCH_DISABLE;
  if (HAL_I2C_Init(&hi2c3) != HAL_OK)
  {
    Error_Handler();
  }

}

static void MX_SPI1_Init(void)
{

  /* SPI1 parameter configuration*/
  hspi1.Instance = SPI1;
  hspi1.Init.Mode = SPI_MODE_MASTER;
  hspi1.Init.Direction = SPI_DIRECTION_2LINES;
  hspi1.Init.DataSize = SPI_DATASIZE_8BIT;
  hspi1.Init.CLKPolarity = SPI_POLARITY_LOW;
  hspi1.Init.CLKPhase = SPI_PHASE_2EDGE;
  hspi1.Init.NSS = SPI_NSS_SOFT;
  hspi1.Init.BaudRatePrescaler = SPI_BAUDRATEPRESCALER_2;
  hspi1.Init.FirstBit = SPI_FIRSTBIT_MSB;
  hspi1.Init.TIMode = SPI_TIMODE_DISABLE;
  hspi1.Init.CRCCalculation = SPI_CRCCALCULATION_DISABLE;
  hspi1.Init.CRCPolynomial = 10;
  if (HAL_SPI_Init(&hspi1) != HAL_OK)
  {
    Error_Handler();
  }

}

static void MX_SPI2_Init(void)
{

  /* SPI2 parameter configuration*/
  hspi2.Instance = SPI2;
  hspi2.Init.Mode = SPI_MODE_MASTER;
  hspi2.Init.Direction = SPI_DIRECTION_2LINES;
  hspi2.Init.DataSize = SPI_DATASIZE_8BIT;
  hspi2.Init.CLKPolarity = SPI_POLARITY_LOW;
  hspi2.Init.CLKPhase = SPI_PHASE_1EDGE;
  hspi2.Init.NSS = SPI_NSS_SOFT;
  hspi2.Init.BaudRatePrescaler = SPI_BAUDRATEPRESCALER_2;
  hspi2.Init.FirstBit = SPI_FIRSTBIT_MSB;
  hspi2.Init.TIMode = SPI_TIMODE_DISABLE;
  hspi2.Init.CRCCalculation = SPI_CRCCALCULATION_DISABLE;
  hspi2.Init.CRCPolynomial = 10;
  if (HAL_SPI_Init(&hspi2) != HAL_OK)
  {
    Error_Handler();
  }

}

static void MX_SPI3_Init(void)
{

  /* SPI3 parameter configuration*/
  hspi3.Instance = SPI3;
  hspi3.Init.Mode = SPI_MODE_MASTER;
  hspi3.Init.Direction = SPI_DIRECTION_2LINES;
  hspi3.Init.DataSize = SPI_DATASIZE_8BIT;
  hspi3.Init.CLKPolarity = SPI_POLARITY_LOW;
  hspi3.Init.CLKPhase = SPI_PHASE_2EDGE;
  hspi3.Init.NSS = SPI_NSS_SOFT;
  hspi3.Init.BaudRatePrescaler = SPI_BAUDRATEPRESCALER_4;
  hspi3.Init.FirstBit = SPI_FIRSTBIT_MSB;
  hspi3.Init.TIMode = SPI_TIMODE_DISABLE;
  hspi3.Init.CRCCalculation = SPI_CRCCALCULATION_DISABLE;
  hspi3.Init.CRCPolynomial = 10;
  if (HAL_SPI_Init(&hspi3) != HAL_OK)
  {
    Error_Handler();
  }

}

static void MX_TIM2_Init(void)
{

  TIM_ClockConfigTypeDef sClockSourceConfig = {0};
  TIM_MasterConfigTypeDef sMasterConfig = {0};
  TIM_OC_InitTypeDef sConfigOC = {0};

  htim2.Instance = TIM2;
  htim2.Init.Prescaler = 319;
  htim2.Init.CounterMode = TIM_COUNTERMODE_UP;
  htim2.Init.Period = 999;
  htim2.Init.ClockDivision = TIM_CLOCKDIVISION_DIV1;
  htim2.Init.AutoReloadPreload = TIM_AUTORELOAD_PRELOAD_DISABLE;
  if (HAL_TIM_Base_Init(&htim2) != HAL_OK)
  {
    Error_Handler();
  }
  sClockSourceConfig.ClockSource = TIM_CLOCKSOURCE_INTERNAL;
  if (HAL_TIM_ConfigClockSource(&htim2, &sClockSourceConfig) != HAL_OK)
  {
    Error_Handler();
  }
  if (HAL_TIM_PWM_Init(&htim2) != HAL_OK)
  {
    Error_Handler();
  }
  sMasterConfig.MasterOutputTrigger = TIM_TRGO_RESET;
  sMasterConfig.MasterSlaveMode = TIM_MASTERSLAVEMODE_DISABLE;
  if (HAL_TIMEx_MasterConfigSynchronization(&htim2, &sMasterConfig) != HAL_OK)
  {
    Error_Handler();
  }
  sConfigOC.OCMode = TIM_OCMODE_PWM1;
  sConfigOC.Pulse = 0;
  sConfigOC.OCPolarity = TIM_OCPOLARITY_HIGH;
  sConfigOC.OCFastMode = TIM_OCFAST_DISABLE;
  if (HAL_TIM_PWM_ConfigChannel(&htim2, &sConfigOC, TIM_CHANNEL_1) != HAL_OK)
  {
    Error_Handler();
  }
  if (HAL_TIM_PWM_ConfigChannel(&htim2, &sConfigOC, TIM_CHANNEL_2) != HAL_OK)
  {
    Error_Handler();
  }
  if (HAL_TIM_PWM_ConfigChannel(&htim2, &sConfigOC, TIM_CHANNEL_3) != HAL_OK)
  {
    Error_Handler();
  }
  if (HAL_TIM_PWM_ConfigChannel(&htim2, &sConfigOC, TIM_CHANNEL_4) != HAL_OK)
  {
    Error_Handler();
  }
  /* USER CODE BEGIN TIM2_Init 2 */
  __HAL_TIM_SET_AUTORELOAD(&htim2, HTIM2_ARR);
  /* USER CODE END TIM2_Init 2 */
  HAL_TIM_MspPostInit(&htim2);

}

static void MX_TIM3_Init(void)
{

  TIM_ClockConfigTypeDef sClockSourceConfig = {0};
  TIM_MasterConfigTypeDef sMasterConfig = {0};
  TIM_OC_InitTypeDef sConfigOC = {0};

  htim3.Instance = TIM3;
  htim3.Init.Prescaler = 0;
  htim3.Init.CounterMode = TIM_COUNTERMODE_UP;
  htim3.Init.Period = 1;
  htim3.Init.ClockDivision = TIM_CLOCKDIVISION_DIV1;
  htim3.Init.AutoReloadPreload = TIM_AUTORELOAD_PRELOAD_DISABLE;
  if (HAL_TIM_Base_Init(&htim3) != HAL_OK)
  {
    Error_Handler();
  }
  sClockSourceConfig.ClockSource = TIM_CLOCKSOURCE_INTERNAL;
  if (HAL_TIM_ConfigClockSource(&htim3, &sClockSourceConfig) != HAL_OK)
  {
    Error_Handler();
  }
  if (HAL_TIM_PWM_Init(&htim3) != HAL_OK)
  {
    Error_Handler();
  }
  sMasterConfig.MasterOutputTrigger = TIM_TRGO_RESET;
  sMasterConfig.MasterSlaveMode = TIM_MASTERSLAVEMODE_DISABLE;
  if (HAL_TIMEx_MasterConfigSynchronization(&htim3, &sMasterConfig) != HAL_OK)
  {
    Error_Handler();
  }
  sConfigOC.OCMode = TIM_OCMODE_PWM1;
  sConfigOC.Pulse = 0;
  sConfigOC.OCPolarity = TIM_OCPOLARITY_HIGH;
  sConfigOC.OCFastMode = TIM_OCFAST_DISABLE;
  if (HAL_TIM_PWM_ConfigChannel(&htim3, &sConfigOC, TIM_CHANNEL_1) != HAL_OK)
  {
    Error_Handler();
  }
  if (HAL_TIM_PWM_ConfigChannel(&htim3, &sConfigOC, TIM_CHANNEL_2) != HAL_OK)
  {
    Error_Handler();
  }
  if (HAL_TIM_PWM_ConfigChannel(&htim3, &sConfigOC, TIM_CHANNEL_3) != HAL_OK)
  {
    Error_Handler();
  }
  if (HAL_TIM_PWM_ConfigChannel(&htim3, &sConfigOC, TIM_CHANNEL_4) != HAL_OK)
  {
    Error_Handler();
  }
  HAL_TIM_MspPostInit(&htim3);

}

static void MX_TIM4_Init(void)
{

  TIM_ClockConfigTypeDef sClockSourceConfig = {0};
  TIM_MasterConfigTypeDef sMasterConfig = {0};
  TIM_OC_InitTypeDef sConfigOC = {0};

  htim4.Instance = TIM4;
  htim4.Init.Prescaler = 0;
  htim4.Init.CounterMode = TIM_COUNTERMODE_UP;
  htim4.Init.Period = 2;
  htim4.Init.ClockDivision = TIM_CLOCKDIVISION_DIV1;
  htim4.Init.AutoReloadPreload = TIM_AUTORELOAD_PRELOAD_DISABLE;
  if (HAL_TIM_Base_Init(&htim4) != HAL_OK)
  {
    Error_Handler();
  }
  sClockSourceConfig.ClockSource = TIM_CLOCKSOURCE_INTERNAL;
  if (HAL_TIM_ConfigClockSource(&htim4, &sClockSourceConfig) != HAL_OK)
  {
    Error_Handler();
  }
  if (HAL_TIM_PWM_Init(&htim4) != HAL_OK)
  {
    Error_Handler();
  }
  sMasterConfig.MasterOutputTrigger = TIM_TRGO_RESET;
  sMasterConfig.MasterSlaveMode = TIM_MASTERSLAVEMODE_DISABLE;
  if (HAL_TIMEx_MasterConfigSynchronization(&htim4, &sMasterConfig) != HAL_OK)
  {
    Error_Handler();
  }
  sConfigOC.OCMode = TIM_OCMODE_PWM1;
  sConfigOC.Pulse = 1;
  sConfigOC.OCPolarity = TIM_OCPOLARITY_HIGH;
  sConfigOC.OCFastMode = TIM_OCFAST_DISABLE;
  if (HAL_TIM_PWM_ConfigChannel(&htim4, &sConfigOC, TIM_CHANNEL_1) != HAL_OK)
  {
    Error_Handler();
  }
  sConfigOC.Pulse = 0;
  if (HAL_TIM_PWM_ConfigChannel(&htim4, &sConfigOC, TIM_CHANNEL_2) != HAL_OK)
  {
    Error_Handler();
  }
  HAL_TIM_MspPostInit(&htim4);

}

static void MX_TIM8_Init(void)
{

  TIM_ClockConfigTypeDef sClockSourceConfig = {0};
  TIM_MasterConfigTypeDef sMasterConfig = {0};

  htim8.Instance = TIM8;
  htim8.Init.Prescaler = 159;
  htim8.Init.CounterMode = TIM_COUNTERMODE_UP;
  htim8.Init.Period = 9999;
  htim8.Init.ClockDivision = TIM_CLOCKDIVISION_DIV1;
  htim8.Init.RepetitionCounter = 0;
  htim8.Init.AutoReloadPreload = TIM_AUTORELOAD_PRELOAD_ENABLE;
  if (HAL_TIM_Base_Init(&htim8) != HAL_OK)
  {
    Error_Handler();
  }
  sClockSourceConfig.ClockSource = TIM_CLOCKSOURCE_INTERNAL;
  if (HAL_TIM_ConfigClockSource(&htim8, &sClockSourceConfig) != HAL_OK)
  {
    Error_Handler();
  }
  sMasterConfig.MasterOutputTrigger = TIM_TRGO_RESET;
  sMasterConfig.MasterSlaveMode = TIM_MASTERSLAVEMODE_DISABLE;
  if (HAL_TIMEx_MasterConfigSynchronization(&htim8, &sMasterConfig) != HAL_OK)
  {
    Error_Handler();
  }

}

static void MX_DMA_Init(void)
{

  /* DMA controller clock enable */
  __HAL_RCC_DMA2_CLK_ENABLE();
  __HAL_RCC_DMA1_CLK_ENABLE();

  /* DMA interrupt init */
  /* DMA1_Stream0_IRQn interrupt configuration */
  HAL_NVIC_SetPriority(DMA1_Stream0_IRQn, 0, 0);
  HAL_NVIC_EnableIRQ(DMA1_Stream0_IRQn);
  /* DMA1_Stream1_IRQn interrupt configuration */
  HAL_NVIC_SetPriority(DMA1_Stream1_IRQn, 0, 0);
  HAL_NVIC_EnableIRQ(DMA1_Stream1_IRQn);
  /* DMA1_Stream2_IRQn interrupt configuration */
  HAL_NVIC_SetPriority(DMA1_Stream2_IRQn, 0, 0);
  HAL_NVIC_EnableIRQ(DMA1_Stream2_IRQn);
  /* DMA1_Stream3_IRQn interrupt configuration */
  HAL_NVIC_SetPriority(DMA1_Stream3_IRQn, 0, 0);
  HAL_NVIC_EnableIRQ(DMA1_Stream3_IRQn);
  /* DMA1_Stream4_IRQn interrupt configuration */
  HAL_NVIC_SetPriority(DMA1_Stream4_IRQn, 0, 0);
  HAL_NVIC_EnableIRQ(DMA1_Stream4_IRQn);
  /* DMA1_Stream5_IRQn interrupt configuration */
  HAL_NVIC_SetPriority(DMA1_Stream5_IRQn, 0, 0);
  HAL_NVIC_EnableIRQ(DMA1_Stream5_IRQn);
  /* DMA1_Stream6_IRQn interrupt configuration */
  HAL_NVIC_SetPriority(DMA1_Stream6_IRQn, 0, 0);
  HAL_NVIC_EnableIRQ(DMA1_Stream6_IRQn);
  /* DMA1_Stream7_IRQn interrupt configuration */
  HAL_NVIC_SetPriority(DMA1_Stream7_IRQn, 0, 0);
  HAL_NVIC_EnableIRQ(DMA1_Stream7_IRQn);
  /* DMA2_Stream0_IRQn interrupt configuration */
  HAL_NVIC_SetPriority(DMA2_Stream0_IRQn, 0, 0);
  HAL_NVIC_EnableIRQ(DMA2_Stream0_IRQn);
  /* DMA2_Stream2_IRQn interrupt configuration */
  HAL_NVIC_SetPriority(DMA2_Stream2_IRQn, 0, 0);
  HAL_NVIC_EnableIRQ(DMA2_Stream2_IRQn);

}

static void MX_GPIO_Init(void)
{
  GPIO_InitTypeDef GPIO_InitStruct = {0};

  /* GPIO Ports Clock Enable */
  __HAL_RCC_GPIOC_CLK_ENABLE();
  __HAL_RCC_GPIOA_CLK_ENABLE();
  __HAL_RCC_GPIOB_CLK_ENABLE();
  __HAL_RCC_GPIOD_CLK_ENABLE();

  /*Configure GPIO pin Output Level */
  HAL_GPIO_WritePin(GPIOC, PT_CS_Pin|EGPIO_Pin|LEDC_Pin|FLSH_CS_Pin
                          |STA_CS_Pin|EGPIOC8_Pin, GPIO_PIN_RESET);

  /*Configure GPIO pin Output Level */
  HAL_GPIO_WritePin(GPIOA, STB_CS_Pin|EGPIOA9_Pin|LEDB_Pin|EGPIOA11_Pin
                          |SV_PT_SYNC_Pin, GPIO_PIN_RESET);

  /*Configure GPIO pin Output Level */
  HAL_GPIO_WritePin(GPIOB, STR_SYNC_Pin|STXC_Pin|EGPIOB15_Pin|EGPIOB5_Pin, GPIO_PIN_RESET);

  /*Configure GPIO pin Output Level */
  HAL_GPIO_WritePin(SV_CS_GPIO_Port, SV_CS_Pin, GPIO_PIN_RESET);

  /*Configure GPIO pins : PT_CS_Pin EGPIO_Pin LEDC_Pin FLSH_CS_Pin
                           STA_CS_Pin EGPIOC8_Pin */
  GPIO_InitStruct.Pin = PT_CS_Pin|EGPIO_Pin|LEDC_Pin|FLSH_CS_Pin
                          |STA_CS_Pin|EGPIOC8_Pin;
  GPIO_InitStruct.Mode = GPIO_MODE_OUTPUT_PP;
  GPIO_InitStruct.Pull = GPIO_NOPULL;
  GPIO_InitStruct.Speed = GPIO_SPEED_FREQ_LOW;
  HAL_GPIO_Init(GPIOC, &GPIO_InitStruct);

  /*Configure GPIO pins : PT_IQR_Pin STA_IQR_Pin */
  GPIO_InitStruct.Pin = PT_IQR_Pin|STA_IQR_Pin;
  GPIO_InitStruct.Mode = GPIO_MODE_IT_RISING;
  GPIO_InitStruct.Pull = GPIO_NOPULL;
  HAL_GPIO_Init(GPIOC, &GPIO_InitStruct);

  /*Configure GPIO pins : STB_CS_Pin EGPIOA9_Pin LEDB_Pin EGPIOA11_Pin
                           SV_PT_SYNC_Pin */
  GPIO_InitStruct.Pin = STB_CS_Pin|EGPIOA9_Pin|LEDB_Pin|EGPIOA11_Pin
                          |SV_PT_SYNC_Pin;
  GPIO_InitStruct.Mode = GPIO_MODE_OUTPUT_PP;
  GPIO_InitStruct.Pull = GPIO_NOPULL;
  GPIO_InitStruct.Speed = GPIO_SPEED_FREQ_LOW;
  HAL_GPIO_Init(GPIOA, &GPIO_InitStruct);

  /*Configure GPIO pins : STR_SYNC_Pin STXC_Pin EGPIOB15_Pin EGPIOB5_Pin */
  GPIO_InitStruct.Pin = STR_SYNC_Pin|STXC_Pin|EGPIOB15_Pin|EGPIOB5_Pin;
  GPIO_InitStruct.Mode = GPIO_MODE_OUTPUT_PP;
  GPIO_InitStruct.Pull = GPIO_NOPULL;
  GPIO_InitStruct.Speed = GPIO_SPEED_FREQ_LOW;
  HAL_GPIO_Init(GPIOB, &GPIO_InitStruct);

  /*Configure GPIO pin : LEDA_Pin */
  GPIO_InitStruct.Pin = LEDA_Pin;
  GPIO_InitStruct.Mode = GPIO_MODE_IT_RISING;
  GPIO_InitStruct.Pull = GPIO_NOPULL;
  HAL_GPIO_Init(LEDA_GPIO_Port, &GPIO_InitStruct);

  /*Configure GPIO pin : SV_CS_Pin */
  GPIO_InitStruct.Pin = SV_CS_Pin;
  GPIO_InitStruct.Mode = GPIO_MODE_OUTPUT_PP;
  GPIO_InitStruct.Pull = GPIO_NOPULL;
  GPIO_InitStruct.Speed = GPIO_SPEED_FREQ_LOW;
  HAL_GPIO_Init(SV_CS_GPIO_Port, &GPIO_InitStruct);

}

void HAL_TIM_PeriodElapsedCallback(TIM_HandleTypeDef *htim)
{
  if (htim->Instance == TIM5)
  {
    HAL_IncTick();
  }
}

void Error_Handler(void)
{
  __disable_irq();
  while (1)
  {
  }
}
